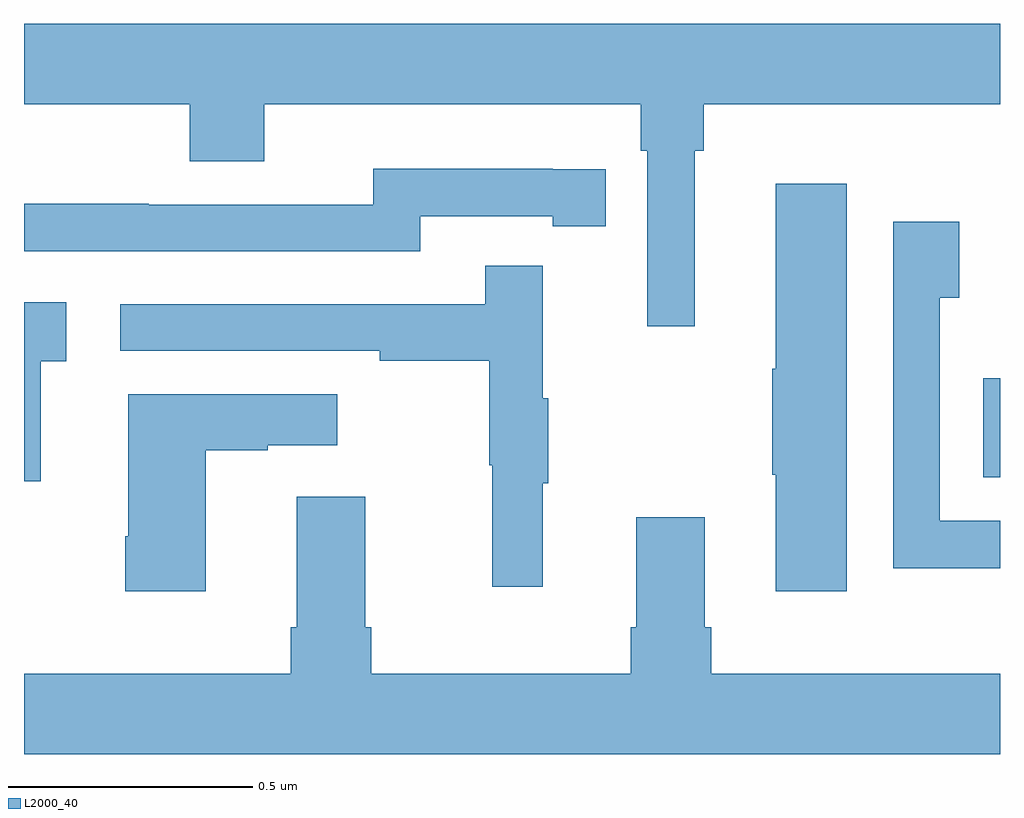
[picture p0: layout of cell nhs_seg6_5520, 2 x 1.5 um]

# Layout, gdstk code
import gdstk
lib = gdstk.Library(unit=1e-6, precision=1e-09)
def R(c, l, rs):  # rectangles x0, y0, x1, y1
    for r in rs: c.add(gdstk.rectangle(r[:2], r[2:], *l))
def P(c, l, *ps):  # polygons
    for p in ps: c.add(gdstk.Polygon(p, *l))
L2000_40 = (2000, 40)

nhs_seg6_5520 = lib.new_cell('nhs_seg6_5520')
R(nhs_seg6_5520, L2000_40, [(185.966,921.263,186,921.466)])
P(nhs_seg6_5520, L2000_40, [(185.374,921.932),(185.393,921.932),(185.393,922.028),(186,922.028),(186,922.192),(184,922.192),(184,922.028),(184.34,922.028),(184.34,921.911),(184.492,921.911),(184.492,922.028),(185.264,922.028),(185.264,921.932),(185.277,921.932),(185.277,921.573),(185.374,921.573)],
  [(184.812,921.798),(185.084,921.798),(185.084,921.778),(185.192,921.778),(185.192,921.894),(185.084,921.894),(185.084,921.895),(184.716,921.895),(184.716,921.822),(184.256,921.822),(184.256,921.824),(184,921.824),(184,921.726),(184.812,921.726)],
  [(185.686,921.865),(185.54,921.865),(185.54,921.485),(185.533,921.485),(185.533,921.268),(185.54,921.268),(185.54,921.03),(185.686,921.03)],
  [(186,921.174),(185.877,921.174),(185.877,921.631),(185.917,921.631),(185.917,921.787),(185.781,921.787),(185.781,921.077),(186,921.077)],
  [(185.063,921.251),(185.074,921.251),(185.074,921.425),(185.063,921.425),(185.063,921.697),(184.945,921.697),(184.945,921.618),(184.197,921.618),(184.197,921.522),(184.729,921.522),(184.729,921.502),(184.953,921.502),(184.953,921.288),(184.96,921.288),(184.96,921.039),(185.063,921.039)],
  [(184.034,921.501),(184.087,921.501),(184.087,921.622),(184,921.622),(184,921.255),(184.034,921.255)],
  [(184.372,921.319),(184.499,921.319),(184.499,921.329),(184.642,921.329),(184.642,921.433),(184.214,921.433),(184.214,921.142),(184.207,921.142),(184.207,921.03),(184.372,921.03)],
  [(186,920.86),(185.408,920.86),(185.408,920.956),(185.395,920.956),(185.395,921.181),(185.255,921.181),(185.255,920.956),(185.243,920.956),(185.243,920.86),(184.712,920.86),(184.712,920.956),(184.699,920.956),(184.699,921.223),(184.559,921.223),(184.559,920.956),(184.547,920.956),(184.547,920.86),(184,920.86),(184,920.696),(186,920.696)])

lib.write_gds('nhs_seg6_5520.gds')
